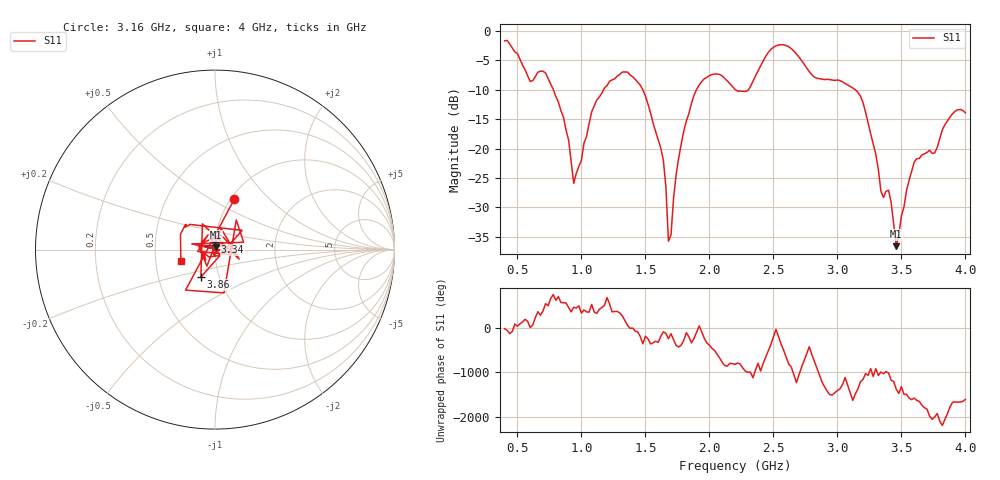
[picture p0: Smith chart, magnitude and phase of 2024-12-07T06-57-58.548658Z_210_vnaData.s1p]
!Created with skrf (http://scikit-rf.org).
# Hz S RI R 50.0
!freq ReS11 ImS11
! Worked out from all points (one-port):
!   181 points, 400 MHz to 4 GHz, reference 50 ohm
!   lowest |S11| = -36.6 dB at 3.46 GHz (marker M1), VSWR 1.03, Z = 50.6 + j1.36 ohm
!   |S11| at or under -10 dB: 781.4 MHz to 1.173 GHz (391.6 MHz wide, 40.1 % of centre); 1.48 GHz to 1.899 GHz (418.6 MHz wide, 24.8 % of centre); 3.14 GHz to end of sweep (the widest 3 of 4)
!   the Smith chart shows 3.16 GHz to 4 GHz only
!   S11 on the Smith chart (normalised r, x): 3.16 GHz: 1.04, +0.64; 3.34 GHz: 0.99, +0.09; 3.86 GHz: 0.82, -0.26; 4 GHz: 0.68, -0.09
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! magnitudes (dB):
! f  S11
! 400 MHz  -1.7
! 600 MHz  -8.6
! 720 MHz  -7.2
! 860 MHz  -14.7
! 940 MHz  -25.9
! 1.08 GHz  -13.8
! 1.3 GHz  -7.4
! 1.52 GHz  -12.4
! 1.64 GHz  -21.9
! 1.66 GHz  -26.5
! 1.68 GHz  -35.8
! 1.7 GHz  -34.7
! 1.76 GHz  -21.6
! 1.94 GHz  -8.6
! 2.2 GHz  -9.9
! 2.3 GHz  -10.1
! 2.5 GHz  -2.8
! 2.66 GHz  -3.4
! 2.82 GHz  -7.8
! 3.1 GHz  -9.5
! 3.16 GHz  -10.4
! 3.3 GHz  -21.0
! 3.34 GHz  -27.2
! 3.4 GHz  -27.1
! 3.46 GHz  -36.6
! 3.56 GHz  -25.4
! 3.86 GHz  -15.3
! 4 GHz  -13.9
